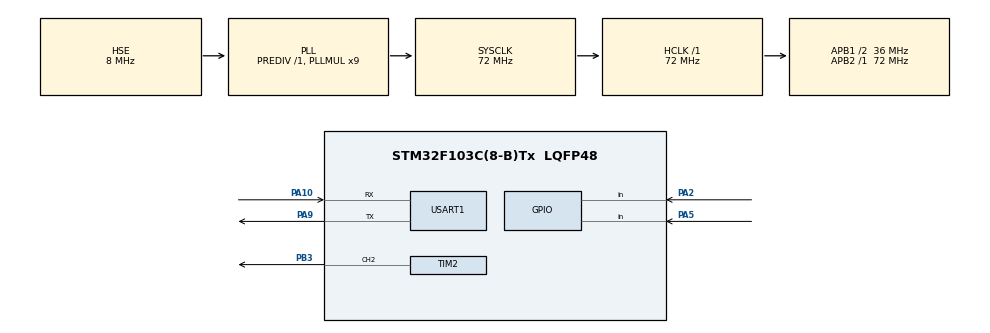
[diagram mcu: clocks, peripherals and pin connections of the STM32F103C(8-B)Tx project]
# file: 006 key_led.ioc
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Mcu.Family=STM32F1
Mcu.Name=STM32F103C(8-B)Tx
Mcu.Package=LQFP48
NVIC.PriorityGroup=NVIC_PRIORITYGROUP_4
NVIC.USART1_IRQn=true\:0\:0\:false\:false\:true\:true\:true\:true
PA10.Mode=Asynchronous
PA10.Signal=USART1_RX
PA13.Mode=Serial_Wire
PA13.Signal=SYS_JTMS-SWDIO
PA14.Mode=Serial_Wire
PA14.Signal=SYS_JTCK-SWCLK
PA2.GPIO_Mode=GPIO_MODE_INPUT
PA2.GPIO_PuPd=GPIO_PULLUP
PA2.Signal=GPIO_Input
PA5.GPIO_PuPd=GPIO_PULLUP
PA5.Signal=GPIO_Input
PA9.Mode=Asynchronous
PA9.Signal=USART1_TX
PB3.Signal=S_TIM2_CH2
PD0-OSC_IN.Mode=HSE-External-Oscillator
PD0-OSC_IN.Signal=RCC_OSC_IN
PD1-OSC_OUT.Mode=HSE-External-Oscillator
PD1-OSC_OUT.Signal=RCC_OSC_OUT
ProjectManager.HeapSize=0x200
ProjectManager.StackSize=0x400
ProjectManager.TargetToolchain=MDK-ARM V5
RCC.AHBFreq_Value=72000000
RCC.APB1CLKDivider=RCC_HCLK_DIV2
RCC.APB1Freq_Value=36000000
RCC.APB1TimFreq_Value=72000000
RCC.APB2Freq_Value=72000000
RCC.APB2TimFreq_Value=72000000
RCC.HCLKFreq_Value=72000000
RCC.PLLMUL=RCC_PLL_MUL9
RCC.PLLSourceVirtual=RCC_PLLSOURCE_HSE
RCC.SYSCLKFreq_VALUE=72000000
RCC.SYSCLKSource=RCC_SYSCLKSOURCE_PLLCLK
RCC.USBFreq_Value=72000000
SH.S_TIM2_CH2.0=TIM2_CH2,PWM Generation2 CH2
TIM2.Channel-PWM\ Generation2\ CH2=TIM_CHANNEL_2
TIM2.Period=499
TIM2.Prescaler=71
USART1.VirtualMode=VM_ASYNC
VP_TIM2_VS_ClockSourceINT.Mode=Internal
board=custom

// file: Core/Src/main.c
/* USER CODE BEGIN Header */
/**
  ******************************************************************************
  * @file           : main.c
  * @brief          : Main program body
  ******************************************************************************
  * @attention
  *
  * Copyright (c) 2023 STMicroelectronics.
  * All rights reserved.
  *
  * This software is licensed under terms that can be found in the LICENSE file
  * in the root directory of this software component.
  * If no LICENSE file comes with this software, it is provided AS-IS.
  *
  ******************************************************************************
  */
/* USER CODE END Header */
#include "main.h"
#include "tim.h"
#include "usart.h"
#include "gpio.h"
#include "stdio.h"
#include <string.h>
#include <stdbool.h>

/* USER CODE BEGIN PV */
uint16_t pwmVal = 0;
uint8_t uartRxBuffer[2];
uint16_t newPwmVal;
uint32_t powerOnTimeMs = 0;
int32_t addr, writeFlashData;
volatile bool newBrightness = false;
volatile bool received = false;
volatile bool newtime = false;
//volatile bool newBrightnessReceived = false;

/* USER CODE END PV */

void SystemClock_Config(void);

/* USER CODE BEGIN 0 */
void sendBrightness(uint16_t pwmVal)
	{
  char buffer[20];
  sprintf(buffer, "brightness: %d\r\n", pwmVal/2);
  HAL_UART_Transmit(&huart1, (uint8_t*)buffer, strlen(buffer), HAL_MAX_DELAY);
		newBrightness = true;

			}

void HAL_UART_RxCpltCallback(UART_HandleTypeDef *huart)
{

  if (huart == &huart1)
  {

		newPwmVal = ((uartRxBuffer[0]-(uint8_t)*"0")*10+uartRxBuffer[1]-(uint8_t)*"0")*2;
      pwmVal = newPwmVal;
      __HAL_TIM_SetCompare(&htim2,TIM_CHANNEL_2,pwmVal);
      sendBrightness(pwmVal);
			received=true;

//memset(uartRxBuffer,0,3);

    HAL_UART_Receive_IT(&huart1, uartRxBuffer, 2);
  }
}

void SysTick_Handler(void)
{
 powerOnTimeMs += 1;
	HAL_IncTick();
			if(powerOnTimeMs % 1000 == 0)
			{
				newtime=true;
			}

}
void sendTime(uint16_t powerOnTimeMs)
{
  char buffer[100];
    sprintf(buffer, "Power on time: %lu s\r\n\r\n", powerOnTimeMs/1000);
    HAL_UART_Transmit(&huart1, (uint8_t*)buffer, strlen(buffer), HAL_MAX_DELAY);
}
void sendlastTime(uint16_t powerOnTimeMs)
{
  char buffer[100];
    sprintf(buffer, "Last Power on time: %lu s\r\n", powerOnTimeMs/1000);
    HAL_UART_Transmit(&huart1, (uint8_t*)buffer, strlen(buffer), HAL_MAX_DELAY);
}
void writeFlashTest(void)
{
	HAL_FLASH_Unlock();

	FLASH_EraseInitTypeDef f;
	f.TypeErase = FLASH_TYPEERASE_PAGES;
	f.PageAddress = addr;
	f.NbPages = 1;

	uint32_t PageError = 0;

	HAL_FLASHEx_Erase(&f, &PageError);

	HAL_FLASH_Program(FLASH_TYPEPROGRAM_WORD,addr, writeFlashData);

	HAL_FLASH_Lock() ;
}
/* USER CODE END 0 */

int main(void)
{

  /* MCU Configuration--------------------------------------------------------*/

  /* Reset of all peripherals, Initializes the Flash interface and the Systick. */
  HAL_Init();

  /* Configure the system clock */
  SystemClock_Config();

  /* Initialize all configured peripherals */
  MX_GPIO_Init();
  MX_TIM2_Init();
  MX_USART1_UART_Init();
  /* USER CODE BEGIN 2 */

	pwmVal=*(__IO uint16_t*)(0x08007000);
	powerOnTimeMs=*(__IO uint16_t*)(0x08007200);
	sendlastTime(powerOnTimeMs);
	powerOnTimeMs=0;
	sendBrightness(pwmVal);
	HAL_TIM_PWM_Start(&htim2,TIM_CHANNEL_2);
	HAL_UART_Receive_IT(&huart1, uartRxBuffer, 2);
	__HAL_TIM_SetCompare(&htim2, TIM_CHANNEL_2, pwmVal);
  /* USER CODE END 2 */

  /* Infinite loop */
  while (1)
  {

    /* USER CODE BEGIN 3 */
		if(HAL_GPIO_ReadPin(GPIOA,GPIO_PIN_2)==GPIO_PIN_RESET & pwmVal<200)
		{
			pwmVal=pwmVal+2;
			__HAL_TIM_SetCompare(&htim2,TIM_CHANNEL_2,pwmVal);
			sendBrightness(pwmVal);
			sendTime(powerOnTimeMs);
			HAL_Delay(120);
		}
		if(HAL_GPIO_ReadPin(GPIOA,GPIO_PIN_5)==GPIO_PIN_RESET & pwmVal>0)
		{
			pwmVal=pwmVal-2;
			__HAL_TIM_SetCompare(&htim2,TIM_CHANNEL_2,pwmVal);
			sendBrightness(pwmVal);
			sendTime(powerOnTimeMs);
			HAL_Delay(120);
		}
		if(received)
		{
			sendTime(powerOnTimeMs);
			received=false;
		}
		if(newBrightness)
		{
			addr=0x08007500;
		  writeFlashData=	pwmVal;
		  writeFlashTest();
			newBrightness=false;
		}
		if(newtime)
		{
			addr=0x08007700;
		  writeFlashData=	powerOnTimeMs;
		  writeFlashTest();
			newtime=false;
		}
		HAL_Delay(50);
  }

  /* USER CODE END 3 */
}

void SystemClock_Config(void)
{
  RCC_OscInitTypeDef RCC_OscInitStruct = {0};
  RCC_ClkInitTypeDef RCC_ClkInitStruct = {0};

  /** Initializes the RCC Oscillators according to the specified parameters
  * in the RCC_OscInitTypeDef structure.
  */
  RCC_OscInitStruct.OscillatorType = RCC_OSCILLATORTYPE_HSE;
  RCC_OscInitStruct.HSEState = RCC_HSE_ON;
  RCC_OscInitStruct.HSEPredivValue = RCC_HSE_PREDIV_DIV1;
  RCC_OscInitStruct.HSIState = RCC_HSI_ON;
  RCC_OscInitStruct.PLL.PLLState = RCC_PLL_ON;
  RCC_OscInitStruct.PLL.PLLSource = RCC_PLLSOURCE_HSE;
  RCC_OscInitStruct.PLL.PLLMUL = RCC_PLL_MUL9;
  if (HAL_RCC_OscConfig(&RCC_OscInitStruct) != HAL_OK)
  {
    Error_Handler();
  }

  /** Initializes the CPU, AHB and APB buses clocks
  */
  RCC_ClkInitStruct.ClockType = RCC_CLOCKTYPE_HCLK|RCC_CLOCKTYPE_SYSCLK
                              |RCC_CLOCKTYPE_PCLK1|RCC_CLOCKTYPE_PCLK2;
  RCC_ClkInitStruct.SYSCLKSource = RCC_SYSCLKSOURCE_PLLCLK;
  RCC_ClkInitStruct.AHBCLKDivider = RCC_SYSCLK_DIV1;
  RCC_ClkInitStruct.APB1CLKDivider = RCC_HCLK_DIV2;
  RCC_ClkInitStruct.APB2CLKDivider = RCC_HCLK_DIV1;

  if (HAL_RCC_ClockConfig(&RCC_ClkInitStruct, FLASH_LATENCY_2) != HAL_OK)
  {
    Error_Handler();
  }
}

void Error_Handler(void)
{
  __disable_irq();
  while (1)
  {
  }
}
